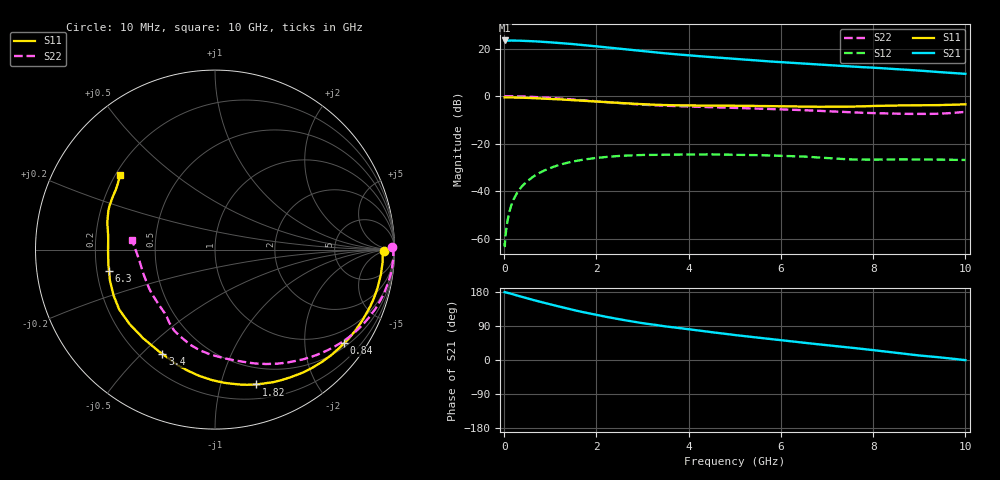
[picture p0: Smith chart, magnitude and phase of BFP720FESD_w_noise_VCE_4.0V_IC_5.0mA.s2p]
! Infineon Technologies  Discrete & RF Semiconductors
! BFP720FESD
! VCE =  4.0 V,  IC =  5.0 mA
! Common Emitter S-Parameters:  Jan 2016
# GHz  S  MA  R  50
!  f  S11  S21  S12  S22
! GHz  MAG  ANG  MAG  ANG  MAG  ANG  MAG  ANG
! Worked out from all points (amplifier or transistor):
!   233 points, 10 MHz to 10 GHz, reference 50 ohm
!   highest |S21| = 23.4 dB at 10 MHz (marker M1)
!   |S21| within 3 dB of that: start of sweep to 2.278 GHz
!   unconditionally stable (mu >= 1): 7.123 GHz to end of sweep
!   at 200 MHz: K = 0.10, MSG = 33.5 dB, |S12| = -43.6 dB
!   at 1.74 GHz: K = 0.19, MSG = 24.0 dB, |S12| = -26.7 dB
!   at 10 GHz: K = 1.47, MAG = 14.0 dB, |S12| = -26.9 dB
!   lowest NFmin = 0.52 dB at 450 MHz
!   S11 on the Smith chart (normalised r, x): 10 MHz: 32, -4; 840 MHz: 0.60, -2.98; 1.82 GHz: 0.33, -1.30; 3.4 GHz: 0.29, -0.58; 6.3 GHz: 0.25, -0.10; 10 GHz: 0.22, +0.33
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0.01  0.9398 -0.4  14.77 179.1  0.0008 -21.7  0.9876 0.7
0.05  0.9349 -2.1  14.61 177.8  0.0017 65.2  0.9939 -1.3
0.105  0.9362 -4.5  14.7 176.4  0.0034 78.3  0.9941 -3.0
0.24  0.9326 -10.5  14.64 171.6  0.0079 80.1  0.99 -7.0
0.5  0.9177 -21.7  14.39 162.8  0.0162 74.6  0.9726 -14.5
0.66  0.905 -28.5  14.15 157.4  0.0212 70.6  0.9571 -19.0
0.84  0.8891 -35.9  13.8 151.8  0.0264 66.2  0.9371 -23.9
1.22  0.8508 -51.2  13.03 140.1  0.0363 56.9  0.8865 -34.1
1.4  0.8298 -58.3  12.62 134.8  0.0403 52.6  0.8596 -38.8
1.68  0.7993 -68.3  11.94 127.1  0.0455 46.3  0.8181 -45.6
1.82  0.785 -73.1  11.55 123.5  0.0476 43.5  0.7985 -48.8
2.2  0.7468 -85.2  10.64 114.2  0.0524 36.3  0.7481 -57.2
2.6  0.7088 -97.2  9.719 105.3  0.056 29.4  0.7001 -65.6
3  0.6766 -107.9  8.849 97.2  0.0578 23.4  0.6596 -73.0
3.4  0.651 -116.7  8.077 90.5  0.0584 19.2  0.6326 -78.5
4  0.6359 -128.9  7.184 81.1  0.0592 13.8  0.6047 -85.9
4.5  0.6313 -138.9  6.587 73.3  0.0595 9.6  0.5852 -92.5
5.1  0.6268 -149.4  5.922 64.6  0.0584 5.2  0.5624 -99.9
6.3  0.6026 -168.4  4.963 48.3  0.0544 -1.9  0.513 -114.2
6.8  0.5963 -176.5  4.624 41.6  0.0513 -3.5  0.4905 -119.7
8.4  0.6315 160.3  3.749 20.4  0.0467 1.9  0.4297 -144.7
10  0.6714 141.9  2.936 -0.4  0.0454 4.1  0.4664 173.1
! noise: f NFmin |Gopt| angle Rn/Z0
0.45  0.52  0.56  4  0.15
2.4  0.64  0.36  32  0.16
5.5  0.83  0.39  106  0.11
10  1.39  0.32  -163  0.09
